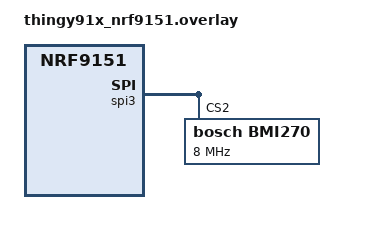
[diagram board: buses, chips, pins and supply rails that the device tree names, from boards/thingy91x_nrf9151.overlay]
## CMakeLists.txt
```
cmake_minimum_required(VERSION 3.20.0)
find_package(Zephyr REQUIRED HINTS $ENV{ZEPHYR_BASE})
project(imureading)

target_sources(app PRIVATE src/main.c)
```

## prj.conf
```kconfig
# CONFIG_BOOTLOADER_MCUBOOT=y
# CONFIG_STDOUT_CONSOLE=y
# CONFIG_GPIO=y
# CONFIG_SPI=y
# CONFIG_SENSOR=y

# Bootloader (keep if you’re using it)
CONFIG_BOOTLOADER_MCUBOOT=y

# Console via RTT
CONFIG_CONSOLE=y
CONFIG_PRINTK=y
CONFIG_STDOUT_CONSOLE=y
CONFIG_USE_SEGGER_RTT=y
CONFIG_RTT_CONSOLE=y

# Optional (but helpful) logging to RTT
CONFIG_LOG=y
CONFIG_LOG_MODE_DEFERRED=y
CONFIG_LOG_BACKEND_RTT=y

# Disable UART console to avoid conflicts (Thingy:91X typically uses RTT)
CONFIG_UART_CONSOLE=n

# Sensors & drivers
CONFIG_GPIO=y
CONFIG_SPI=y
CONFIG_SENSOR=y
CONFIG_BMI270=y          # make sure BMI270 driver is enabled

# Make RTT snappy & roomy
CONFIG_SEGGER_RTT_BUFFER_SIZE_UP=16384
CONFIG_SEGGER_RTT_BUFFER_SIZE_DOWN=1024
CONFIG_SEGGER_RTT_MODE_BLOCK_IF_FIFO_FULL=y

# Stability helpers
CONFIG_ASSERT=y 
CONFIG_INIT_STACKS=y
CONFIG_MAIN_STACK_SIZE=4096

# Enable newlib for full printf/scanf
CONFIG_NEWLIB_LIBC=y
CONFIG_NEWLIB_LIBC_FLOAT_PRINTF=y
CONFIG_CBPRINTF_FP_SUPPORT=y
```

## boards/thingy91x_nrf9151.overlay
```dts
// &spi3 {
// 	accel_hp: accelerometer_hp: bmi270@2{
// 		status = "okay";
// 	};
// };
&spi3 {
    status = "okay";

    bmi270: bmi270@2 {
        compatible = "bosch,bmi270";
        reg = <2>;
        status = "okay";
        spi-max-frequency = <8000000>;
        // Uncomment if board requires explicit pins
        // cs-gpios = <&gpio0 10 GPIO_ACTIVE_LOW>;
        // int-gpios = <&gpio0 11 GPIO_ACTIVE_HIGH>;
    };
};
```

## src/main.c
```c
////////////////////////////////////////////////////////////////////////////////////////////////////////////////////
#include <zephyr/kernel.h>
#include <zephyr/device.h>
#include <zephyr/drivers/sensor.h>
#include <zephyr/logging/log.h>
#include <math.h>
#include <math.h>

#define WINDOW_SIZE 50        /* 50 samples @ 200 Hz = 0.25 s */
#ifndef M_PI
#define M_PI 3.14159265358979323846
#endif
LOG_MODULE_REGISTER(vibration, LOG_LEVEL_INF);

/* ====== Sampling / Window ====== */
#define SAMPLE_RATE_HZ        200
#define SAMPLE_INTERVAL_MS    (1000 / SAMPLE_RATE_HZ)   /* 5 ms */
#define WINDOW_SIZE           256                        /* ~1.28 s */

/* ====== High-pass filter cutoff (removes gravity/slow tilt) ====== */
#define HPF_CUTOFF_HZ         0.5f

/* ====== Classification thresholds (accel RMS in m/s^2) ======
 * TUNE for your use-case:
 *   SAFE    < 0.5  m/s^2
 *   WARNING < 2.0  m/s^2
 *   DANGER  >= 2.0 m/s^2
 */
#define THRESH_SAFE_MPS2      0.5f
#define THRESH_DANGER_MPS2    2.0f

static const struct device *imu;

/* Simple RMS on a buffer */
static float compute_rms(const float *buf, int n) {
    float s2 = 0.f;
    for (int i = 0; i < n; i++) s2 += buf[i] * buf[i];
    return sqrtf(s2 / (float)n);
}

void main(void)
{
    imu = DEVICE_DT_GET_ONE(bosch_bmi270);
    if (!device_is_ready(imu)) {
        LOG_ERR("BMI270 not ready");
        return;
    }

    /* ---- Configure BMI270 for ~200 Hz, 2 g accel, 500 dps gyro ---- */
    struct sensor_value fs, odr, ovs;

    /* Accelerometer */
    fs.val1 = 2; fs.val2 = 0;                 /* ±2 g range (driver returns m/s^2) */
    odr.val1 = 200; odr.val2 = 0;             /* 200 Hz */
    ovs.val1 = 1; ovs.val2 = 0;               /* Normal mode */
    (void)sensor_attr_set(imu, SENSOR_CHAN_ACCEL_XYZ, SENSOR_ATTR_FULL_SCALE, &fs);
    (void)sensor_attr_set(imu, SENSOR_CHAN_ACCEL_XYZ, SENSOR_ATTR_OVERSAMPLING, &ovs);
    (void)sensor_attr_set(imu, SENSOR_CHAN_ACCEL_XYZ, SENSOR_ATTR_SAMPLING_FREQUENCY, &odr);

    /* Gyro */
    fs.val1 = 500; fs.val2 = 0;               /* ±500 dps */
    odr.val1 = 200; odr.val2 = 0;             /* 200 Hz */
    ovs.val1 = 1;  ovs.val2 = 0;
    (void)sensor_attr_set(imu, SENSOR_CHAN_GYRO_XYZ, SENSOR_ATTR_FULL_SCALE, &fs);
    (void)sensor_attr_set(imu, SENSOR_CHAN_GYRO_XYZ, SENSOR_ATTR_OVERSAMPLING, &ovs);
    (void)sensor_attr_set(imu, SENSOR_CHAN_GYRO_XYZ, SENSOR_ATTR_SAMPLING_FREQUENCY, &odr);

    LOG_INF("BMI270 configured. Sampling at %d Hz", SAMPLE_RATE_HZ);

    /* ---- High-pass filter state (per-axis) ----
     * y[n] = a * (y[n-1] + x[n] - x[n-1])
     */
    const float Ts   = 1.0f / (float)SAMPLE_RATE_HZ;
    const float tau  = 1.0f / (2.0f * (float)M_PI * HPF_CUTOFF_HZ);
    const float a    = tau / (tau + Ts);

    float ax_prev = 0.f, ay_prev = 0.f, az_prev = 0.f;
    float ax_hp_prev = 0.f, ay_hp_prev = 0.f, az_hp_prev = 0.f;

    struct sensor_value acc[3], gyr[3];

    float a_buf[WINDOW_SIZE];   /* filtered accel magnitude (m/s^2) */
    float g_buf[WINDOW_SIZE];   /* gyro magnitude (dps) */
    int   idx = 0;

    while (1) {
        if (sensor_sample_fetch(imu) != 0) {
            /* No fresh sample yet */
            k_sleep(K_MSEC(SAMPLE_INTERVAL_MS));
            continue;
        }

        sensor_channel_get(imu, SENSOR_CHAN_ACCEL_XYZ, acc);
        sensor_channel_get(imu, SENSOR_CHAN_GYRO_XYZ,  gyr);

        /* Convert to float (Zephyr: val1 + val2 * 1e-6) */
        float ax = (float)acc[0].val1 + (float)acc[0].val2 / 1e6f;  /* m/s^2 */
        float ay = (float)acc[1].val1 + (float)acc[1].val2 / 1e6f;
        float az = (float)acc[2].val1 + (float)acc[2].val2 / 1e6f;

        float gx = (float)gyr[0].val1 + (float)gyr[0].val2 / 1e6f;  /* dps */
        float gy = (float)gyr[1].val1 + (float)gyr[1].val2 / 1e6f;
        float gz = (float)gyr[2].val1 + (float)gyr[2].val2 / 1e6f;

        /* High-pass each accel axis to remove gravity & slow tilt */
        float ax_hp = a * (ax_hp_prev + ax - ax_prev);
        float ay_hp = a * (ay_hp_prev + ay - ay_prev);
        float az_hp = a * (az_hp_prev + az - az_prev);

        ax_prev = ax; ay_prev = ay; az_prev = az;
        ax_hp_prev = ax_hp; ay_hp_prev = ay_hp; az_hp_prev = az_hp;

        /* Magnitudes */
        float a_mag_hp = sqrtf(ax_hp*ax_hp + ay_hp*ay_hp + az_hp*az_hp); /* m/s^2 */
        float g_mag    = sqrtf(gx*gx + gy*gy + gz*gz);                   /* dps */

        a_buf[idx] = a_mag_hp;
        g_buf[idx] = g_mag;
        idx++;

        // if (idx >= WINDOW_SIZE) {
        //     idx = 0;
        //     /* RMS over the window */
        //     float a_rms = compute_rms(a_buf, WINDOW_SIZE);  /* m/s^2 */
        //     float g_rms = compute_rms(g_buf, WINDOW_SIZE);  /* dps   */

        //     const char *status = "SAFE";
        //     if (a_rms >= THRESH_DANGER_MPS2) {
        //         status = "DANGER";
        //     } else if (a_rms >= THRESH_SAFE_MPS2) {
        //         status = "WARNING";
        //     }

        //     /* Print both vibration and rotation context */
        //     //printk("Accel_vib_RMS = %.3f m/s^2, Gyro_RMS = %.2f dps → %s\n", a_rms, g_rms, status);
        //     LOG_INF("Accel_vib_RMS=%.3f m/s^2, Gyro_RMS=%.2f dps, Status=%s",
        //             a_rms, g_rms, status);
        // }
        if (idx >= WINDOW_SIZE) {
            idx = 0;  // optional if you want a circular buffer, else shift manually
        }

        /* Compute RMS on whatever # of samples you have (up to WINDOW_SIZE) */
        float a_rms = compute_rms(a_buf, MIN(idx, WINDOW_SIZE));
        float g_rms = compute_rms(g_buf, MIN(idx, WINDOW_SIZE));

        const char *status = "SAFE";
        if (a_rms >= THRESH_DANGER_MPS2) {
            status = "DANGER";
        } else if (a_rms >= THRESH_SAFE_MPS2) {
            status = "WARNING";
        }

        printk("Accel_vib_RMS = %.3f m/s^2, Gyro_RMS = %.2f dps → %s\n",
            a_rms, g_rms, status);

        k_sleep(K_MSEC(SAMPLE_INTERVAL_MS));
    }
}
```

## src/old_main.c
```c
// #include <zephyr/kernel.h>
// #include <zephyr/device.h>
// #include <zephyr/drivers/sensor.h>
// #include <stdio.h>

// int main(void)
// {
// 	const struct device *const dev = DEVICE_DT_GET_ONE(bosch_bmi270);
// 	struct sensor_value acc[3], gyr[3];
// 	struct sensor_value full_scale, sampling_freq, oversampling;

// 	if (!device_is_ready(dev)) {
// 		printf("Device %s is not ready\n", dev->name);
// 		return 0;x
// 	}

// 	printf("Device %p name is %s\n", dev, dev->name);

// 	/* Setting scale in G, due to loss of precision if the SI unit m/s^2
// 	 * is used
// 	 */
// 	full_scale.val1 = 2;            /* G */
// 	full_scale.val2 = 0;
// 	sampling_freq.val1 = 100;       /* Hz. Performance mode */
// 	sampling_freq.val2 = 0;
// 	oversampling.val1 = 1;          /* Normal mode */
// 	oversampling.val2 = 0;

// 	sensor_attr_set(dev, SENSOR_CHAN_ACCEL_XYZ, SENSOR_ATTR_FULL_SCALE,
// 			&full_scale);
// 	sensor_attr_set(dev, SENSOR_CHAN_ACCEL_XYZ, SENSOR_ATTR_OVERSAMPLING,
// 			&oversampling);
// 	/* Set sampling frequency last as this also sets the appropriate
// 	 * power mode. If already sampling, change to 0.0Hz before changing
// 	 * other attributes
// 	 */
// 	sensor_attr_set(dev, SENSOR_CHAN_ACCEL_XYZ,
// 			SENSOR_ATTR_SAMPLING_FREQUENCY,
// 			&sampling_freq);


// 	/* Setting scale in degrees/s to match the sensor scale */
// 	full_scale.val1 = 500;          /* dps */
// 	full_scale.val2 = 0;
// 	sampling_freq.val1 = 100;       /* Hz. Performance mode */
// 	sampling_freq.val2 = 0;
// 	oversampling.val1 = 1;          /* Normal mode */
// 	oversampling.val2 = 0;

// 	sensor_attr_set(dev, SENSOR_CHAN_GYRO_XYZ, SENSOR_ATTR_FULL_SCALE,
// 			&full_scale);
// 	sensor_attr_set(dev, SENSOR_CHAN_GYRO_XYZ, SENSOR_ATTR_OVERSAMPLING,
// 			&oversampling);
// 	/* Set sampling frequency last as this also sets the appropriate
// 	 * power mode. If already sampling, change sampling frequency to
// 	 * 0.0Hz before changing other attributes
// 	 */
// 	sensor_attr_set(dev, SENSOR_CHAN_GYRO_XYZ,
// 			SENSOR_ATTR_SAMPLING_FREQUENCY,
// 			&sampling_freq);

// 	while (1) {
// 		/* 10ms period, 100Hz Sampling frequency */
// 		k_sleep(K_MSEC(10));

// 		sensor_sample_fetch(dev);

// 		sensor_channel_get(dev, SENSOR_CHAN_ACCEL_XYZ, acc);
// 		sensor_channel_get(dev, SENSOR_CHAN_GYRO_XYZ, gyr);

// 		printf("AX: %d.%06d; AY: %d.%06d; AZ: %d.%06d; "
// 		       "GX: %d.%06d; GY: %d.%06d; GZ: %d.%06d;\n",
// 		       acc[0].val1, acc[0].val2,
// 		       acc[1].val1, acc[1].val2,
// 		       acc[2].val1, acc[2].val2,
// 		       gyr[0].val1, gyr[0].val2,
// 		       gyr[1].val1, gyr[1].val2,
// 		       gyr[2].val1, gyr[2].val2);
//                k_sleep(K_MSEC(50));
// 	}
// 	return 0;
// }

//////////////////////////////////////////////////////////////////////////////////////////////////////////////////

#include <zephyr/kernel.h>
#include <zephyr/device.h>
#include <zephyr/drivers/sensor.h>
#include <stdio.h>

void main(void)
{
    const struct device *const dev = DEVICE_DT_GET_ONE(bosch_bmi270);
    struct sensor_value acc[3], gyr[3];
    struct sensor_value full_scale, sampling_freq, oversampling;

    if (!device_is_ready(dev)) {
        printf("Device %s is not ready\n", dev->name);
        return;
    }

    printf("Device %p name is %s\n", dev, dev->name);

    /* ACCEL: scale in g */
    full_scale.val1 = 2; full_scale.val2 = 0;
    sampling_freq.val1 = 100; sampling_freq.val2 = 0;
    oversampling.val1 = 1; oversampling.val2 = 0;

    sensor_attr_set(dev, SENSOR_CHAN_ACCEL_XYZ, SENSOR_ATTR_FULL_SCALE, &full_scale);
    sensor_attr_set(dev, SENSOR_CHAN_ACCEL_XYZ, SENSOR_ATTR_OVERSAMPLING, &oversampling);
    sensor_attr_set(dev, SENSOR_CHAN_ACCEL_XYZ, SENSOR_ATTR_SAMPLING_FREQUENCY, &sampling_freq);

    /* GYRO: scale in dps */
    full_scale.val1 = 500; full_scale.val2 = 0;
    sampling_freq.val1 = 100; sampling_freq.val2 = 0;
    oversampling.val1 = 1; oversampling.val2 = 0;

    sensor_attr_set(dev, SENSOR_CHAN_GYRO_XYZ, SENSOR_ATTR_FULL_SCALE, &full_scale);
    sensor_attr_set(dev, SENSOR_CHAN_GYRO_XYZ, SENSOR_ATTR_OVERSAMPLING, &oversampling);
    sensor_attr_set(dev, SENSOR_CHAN_GYRO_XYZ, SENSOR_ATTR_SAMPLING_FREQUENCY, &sampling_freq);

    while (1) {
        /* 10ms period, 100 Hz fetch */
        k_sleep(K_MSEC(10));

        if (sensor_sample_fetch(dev) != 0) {
            printf("Sample fetch error\n");
            continue;
        }

        sensor_channel_get(dev, SENSOR_CHAN_ACCEL_XYZ, acc);
        sensor_channel_get(dev, SENSOR_CHAN_GYRO_XYZ,  gyr);

        printf("AX: %d.%06d; AY: %d.%06d; AZ: %d.%06d; "
               "GX: %d.%06d; GY: %d.%06d; GZ: %d.%06d;\n",
               acc[0].val1, acc[0].val2,
               acc[1].val1, acc[1].val2,
               acc[2].val1, acc[2].val2,
               gyr[0].val1, gyr[0].val2,
               gyr[1].val1, gyr[1].val2,
               gyr[2].val1, gyr[2].val2);

        k_sleep(K_MSEC(50));
    }
}
```
